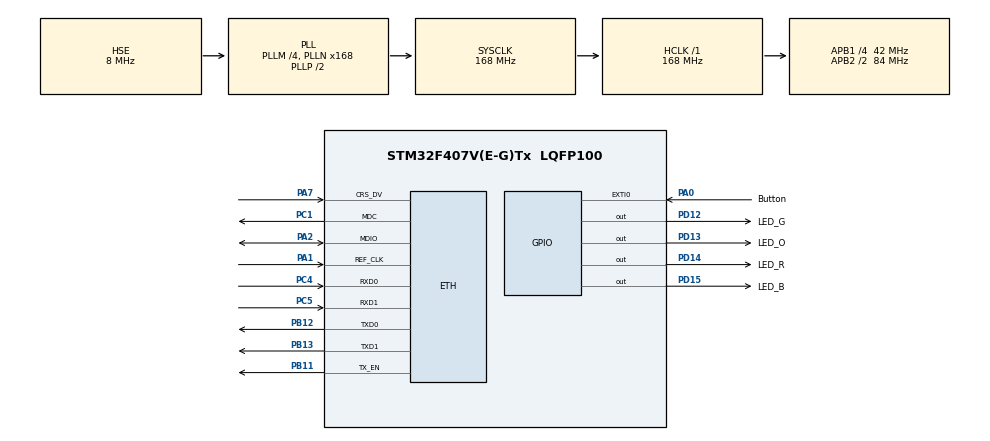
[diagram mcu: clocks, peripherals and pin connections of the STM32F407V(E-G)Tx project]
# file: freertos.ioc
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ETH.MediaInterface=ETH_MEDIA_INTERFACE_RMII
FREERTOS.BinarySemaphores01=myBinarySem01,Dynamic,NULL
FREERTOS.HEAP_NUMBER=4
FREERTOS.INCLUDE_eTaskGetState=1
FREERTOS.INCLUDE_pcTaskGetTaskName=1
FREERTOS.INCLUDE_uxTaskGetStackHighWaterMark=1
FREERTOS.INCLUDE_vTaskCleanUpResources=1
FREERTOS.INCLUDE_vTaskDelayUntil=1
FREERTOS.INCLUDE_xEventGroupSetBitFromISR=1
FREERTOS.INCLUDE_xQueueGetMutexHolder=1
FREERTOS.INCLUDE_xSemaphoreGetMutexHolder=1
FREERTOS.INCLUDE_xTaskAbortDelay=1
FREERTOS.INCLUDE_xTaskGetCurrentTaskHandle=1
FREERTOS.INCLUDE_xTaskGetHandle=1
FREERTOS.INCLUDE_xTimerPendFunctionCall=1
FREERTOS.Queues01=myQueue01,16,uint16_t,0,Dynamic,NULL,NULL
FREERTOS.Tasks01=defaultTask,0,128,StartDefaultTask,Default,NULL,Dynamic,NULL,NULL;myTask02,-3,128,StartTask02,Default,NULL,Dynamic,NULL,NULL;myTask03,-3,128,StartTask03,Default,NULL,Dynamic,NULL,NULL;myTask04,-3,128,StartTask04,Default,NULL,Dynamic,NULL,NULL;myTask05,-3,128,StartTask05,Default,NULL,Dynamic,NULL,NULL;ButtonProc,0,128,StartButtonProc,Default,NULL,Dynamic,NULL,NULL;ButtonParse,0,128,StartButtonParse,Default,NULL,Dynamic,NULL,NULL
FREERTOS.configGENERATE_RUN_TIME_STATS=1
FREERTOS.configTICK_RATE_HZ=1000
FREERTOS.configTOTAL_HEAP_SIZE=15360
FREERTOS.configUSE_STATS_FORMATTING_FUNCTIONS=1
FREERTOS.configUSE_TRACE_FACILITY=1
Mcu.Family=STM32F4
Mcu.Name=STM32F407V(E-G)Tx
Mcu.Package=LQFP100
NVIC.EXTI0_IRQn=true\:5\:0\:false\:false\:true\:true\:true\:true
NVIC.PriorityGroup=NVIC_PRIORITYGROUP_4
NVIC.RCC_IRQn=true\:5\:0\:false\:false\:true\:true\:true\:false
NVIC.TIM1_UP_TIM10_IRQn=true\:0\:0\:false\:false\:true\:false\:false\:true
NVIC.TimeBase=TIM1_UP_TIM10_IRQn
NVIC.TimeBaseIP=TIM1
PA0-WKUP.GPIO_Label=Button
PA0-WKUP.GPIO_ModeDefaultEXTI=GPIO_MODE_IT_RISING_FALLING
PA0-WKUP.GPIO_PuPd=GPIO_NOPULL
PA0-WKUP.Signal=GPXTI0
PA1.Mode=RMII
PA1.Signal=ETH_REF_CLK
PA13.Mode=Trace_Asynchronous_SW
PA13.Signal=SYS_JTMS-SWDIO
PA14.Mode=Trace_Asynchronous_SW
PA14.Signal=SYS_JTCK-SWCLK
PA2.Mode=RMII
PA2.Signal=ETH_MDIO
PA7.Mode=RMII
PA7.Signal=ETH_CRS_DV
PB11.Mode=RMII
PB11.Signal=ETH_TX_EN
PB12.Mode=RMII
PB12.Signal=ETH_TXD0
PB13.Mode=RMII
PB13.Signal=ETH_TXD1
PB3.Mode=Trace_Asynchronous_SW
PB3.Signal=SYS_JTDO-SWO
PC1.Mode=RMII
PC1.Signal=ETH_MDC
PC4.Mode=RMII
PC4.Signal=ETH_RXD0
PC5.Mode=RMII
PC5.Signal=ETH_RXD1
PD12.GPIO_Label=LED_G
PD12.Signal=GPIO_Output
PD13.GPIO_Label=LED_O
PD13.Signal=GPIO_Output
PD14.GPIO_Label=LED_R
PD14.Signal=GPIO_Output
PD15.GPIO_Label=LED_B
PD15.Signal=GPIO_Output
PH0-OSC_IN.Mode=HSE-External-Oscillator
PH0-OSC_IN.Signal=RCC_OSC_IN
PH1-OSC_OUT.Mode=HSE-External-Oscillator
PH1-OSC_OUT.Signal=RCC_OSC_OUT
ProjectManager.HeapSize=0x1000
ProjectManager.StackSize=0x2000
ProjectManager.TargetToolchain=MDK-ARM V5
RCC.48MHZClocksFreq_Value=84000000
RCC.AHBFreq_Value=168000000
RCC.APB1CLKDivider=RCC_HCLK_DIV4
RCC.APB1Freq_Value=42000000
RCC.APB1TimFreq_Value=84000000
RCC.APB2CLKDivider=RCC_HCLK_DIV2
RCC.APB2Freq_Value=84000000
RCC.APB2TimFreq_Value=168000000
RCC.CortexFreq_Value=168000000
RCC.HCLKFreq_Value=168000000
RCC.HSE_VALUE=8000000
RCC.HSI_VALUE=16000000
RCC.LSE_VALUE=32768
RCC.PLLM=4
RCC.PLLN=168
RCC.PLLSourceVirtual=RCC_PLLSOURCE_HSE
RCC.SYSCLKFreq_VALUE=168000000
RCC.SYSCLKSource=RCC_SYSCLKSOURCE_PLLCLK
RCC.VCOOutputFreq_Value=336000000
VP_FREERTOS_VS_CMSIS_V1.Mode=CMSIS_V1
VP_SYS_VS_tim1.Mode=TIM1
board=custom

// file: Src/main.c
/* USER CODE BEGIN Header */
/**
  ******************************************************************************
  * @file           : main.c
  * @brief          : Main program body
  ******************************************************************************
  * This notice applies to any and all portions of this file
  * that are not between comment pairs USER CODE BEGIN and
  * USER CODE END. Other portions of this file, whether
  * inserted by the user or by software development tools
  * are owned by their respective copyright owners.
  *
  * Copyright (c) 2019 STMicroelectronics International N.V.
  * All rights reserved.
  *
  * Redistribution and use in source and binary forms, with or without
  * modification, are permitted, provided that the following conditions are met:
  *
  * 1. Redistribution of source code must retain the above copyright notice,
  *    this list of conditions and the following disclaimer.
  * 2. Redistributions in binary form must reproduce the above copyright notice,
  *    this list of conditions and the following disclaimer in the documentation
  *    and/or other materials provided with the distribution.
  * 3. Neither the name of STMicroelectronics nor the names of other
  *    contributors to this software may be used to endorse or promote products
  *    derived from this software without specific written permission.
  * 4. This software, including modifications and/or derivative works of this
  *    software, must execute solely and exclusively on microcontroller or
  *    microprocessor devices manufactured by or for STMicroelectronics.
  * 5. Redistribution and use of this software other than as permitted under
  *    this license is void and will automatically terminate your rights under
  *    this license.
  *
  * THIS SOFTWARE IS PROVIDED BY STMICROELECTRONICS AND CONTRIBUTORS "AS IS"
  * AND ANY EXPRESS, IMPLIED OR STATUTORY WARRANTIES, INCLUDING, BUT NOT
  * LIMITED TO, THE IMPLIED WARRANTIES OF MERCHANTABILITY, FITNESS FOR A
  * PARTICULAR PURPOSE AND NON-INFRINGEMENT OF THIRD PARTY INTELLECTUAL PROPERTY
  * RIGHTS ARE DISCLAIMED TO THE FULLEST EXTENT PERMITTED BY LAW. IN NO EVENT
  * SHALL STMICROELECTRONICS OR CONTRIBUTORS BE LIABLE FOR ANY DIRECT, INDIRECT,
  * INCIDENTAL, SPECIAL, EXEMPLARY, OR CONSEQUENTIAL DAMAGES (INCLUDING, BUT NOT
  * LIMITED TO, PROCUREMENT OF SUBSTITUTE GOODS OR SERVICES; LOSS OF USE, DATA,
  * OR PROFITS; OR BUSINESS INTERRUPTION) HOWEVER CAUSED AND ON ANY THEORY OF
  * LIABILITY, WHETHER IN CONTRACT, STRICT LIABILITY, OR TORT (INCLUDING
  * NEGLIGENCE OR OTHERWISE) ARISING IN ANY WAY OUT OF THE USE OF THIS SOFTWARE,
  * EVEN IF ADVISED OF THE POSSIBILITY OF SUCH DAMAGE.
  *
  ******************************************************************************
  */
/* USER CODE END Header */

#include "main.h"
#include "cmsis_os.h"

/* USER CODE BEGIN Includes */
#include "printf.h"
#include <stdlib.h>
/* USER CODE END Includes */

/* USER CODE BEGIN PTD */
typedef struct {
	uint16_t var1;
	char text1[50];
}  test_struct;

/* USER CODE END PTD */

osThreadId defaultTaskHandle;
osThreadId myTask02Handle;
osThreadId myTask03Handle;
osThreadId myTask04Handle;
osThreadId myTask05Handle;
osThreadId ButtonProcHandle;
osThreadId ButtonParseHandle;
osMessageQId myQueue01Handle;
osSemaphoreId myBinarySem01Handle;

void SystemClock_Config(void);
static void MX_GPIO_Init(void);
void StartDefaultTask(void const * argument);
void StartTask02(void const * argument);
void StartTask03(void const * argument);
void StartTask04(void const * argument);
void StartTask05(void const * argument);
void StartButtonProc(void const * argument);
void StartButtonParse(void const * argument);

int main(void)
{

  /* MCU Configuration--------------------------------------------------------*/

  /* Reset of all peripherals, Initializes the Flash interface and the Systick. */
  HAL_Init();

  /* Configure the system clock */
  SystemClock_Config();

  /* Initialize all configured peripherals */
  MX_GPIO_Init();

  /* Create the semaphores(s) */
  /* definition and creation of myBinarySem01 */
  osSemaphoreDef(myBinarySem01);
  myBinarySem01Handle = osSemaphoreCreate(osSemaphore(myBinarySem01), 1);

  /* Create the queue(s) */
  /* definition and creation of myQueue01 */
  osMessageQDef(myQueue01, 16, uint16_t);
  myQueue01Handle = osMessageCreate(osMessageQ(myQueue01), NULL);

  /* Create the thread(s) */
  /* definition and creation of defaultTask */
  osThreadDef(defaultTask, StartDefaultTask, osPriorityNormal, 0, 128);
  defaultTaskHandle = osThreadCreate(osThread(defaultTask), NULL);

  /* definition and creation of myTask02 */
  osThreadDef(myTask02, StartTask02, osPriorityIdle, 0, 128);
  myTask02Handle = osThreadCreate(osThread(myTask02), NULL);

  /* definition and creation of myTask03 */
  osThreadDef(myTask03, StartTask03, osPriorityIdle, 0, 128);
  myTask03Handle = osThreadCreate(osThread(myTask03), NULL);

  /* definition and creation of myTask04 */
  osThreadDef(myTask04, StartTask04, osPriorityIdle, 0, 128);
  myTask04Handle = osThreadCreate(osThread(myTask04), NULL);

  /* definition and creation of myTask05 */
  osThreadDef(myTask05, StartTask05, osPriorityIdle, 0, 128);
  myTask05Handle = osThreadCreate(osThread(myTask05), NULL);

  /* definition and creation of ButtonProc */
  osThreadDef(ButtonProc, StartButtonProc, osPriorityNormal, 0, 128);
  ButtonProcHandle = osThreadCreate(osThread(ButtonProc), NULL);

  /* definition and creation of ButtonParse */
  osThreadDef(ButtonParse, StartButtonParse, osPriorityNormal, 0, 128);
  ButtonParseHandle = osThreadCreate(osThread(ButtonParse), NULL);

  /* Start scheduler */
  osKernelStart();

  /* We should never get here as control is now taken by the scheduler */

  /* Infinite loop */
  while (1)
  {

  }
}

void SystemClock_Config(void)
{
  RCC_OscInitTypeDef RCC_OscInitStruct = {0};
  RCC_ClkInitTypeDef RCC_ClkInitStruct = {0};

  /** Configure the main internal regulator output voltage
  */
  __HAL_RCC_PWR_CLK_ENABLE();
  __HAL_PWR_VOLTAGESCALING_CONFIG(PWR_REGULATOR_VOLTAGE_SCALE1);
  /** Initializes the CPU, AHB and APB busses clocks
  */
  RCC_OscInitStruct.OscillatorType = RCC_OSCILLATORTYPE_HSE;
  RCC_OscInitStruct.HSEState = RCC_HSE_ON;
  RCC_OscInitStruct.PLL.PLLState = RCC_PLL_ON;
  RCC_OscInitStruct.PLL.PLLSource = RCC_PLLSOURCE_HSE;
  RCC_OscInitStruct.PLL.PLLM = 4;
  RCC_OscInitStruct.PLL.PLLN = 168;
  RCC_OscInitStruct.PLL.PLLP = RCC_PLLP_DIV2;
  RCC_OscInitStruct.PLL.PLLQ = 4;
  if (HAL_RCC_OscConfig(&RCC_OscInitStruct) != HAL_OK)
  {
    Error_Handler();
  }
  /** Initializes the CPU, AHB and APB busses clocks
  */
  RCC_ClkInitStruct.ClockType = RCC_CLOCKTYPE_HCLK|RCC_CLOCKTYPE_SYSCLK
                              |RCC_CLOCKTYPE_PCLK1|RCC_CLOCKTYPE_PCLK2;
  RCC_ClkInitStruct.SYSCLKSource = RCC_SYSCLKSOURCE_PLLCLK;
  RCC_ClkInitStruct.AHBCLKDivider = RCC_SYSCLK_DIV1;
  RCC_ClkInitStruct.APB1CLKDivider = RCC_HCLK_DIV4;
  RCC_ClkInitStruct.APB2CLKDivider = RCC_HCLK_DIV2;

  if (HAL_RCC_ClockConfig(&RCC_ClkInitStruct, FLASH_LATENCY_5) != HAL_OK)
  {
    Error_Handler();
  }
}

static void MX_GPIO_Init(void)
{
  GPIO_InitTypeDef GPIO_InitStruct = {0};

  /* GPIO Ports Clock Enable */
  __HAL_RCC_GPIOH_CLK_ENABLE();
  __HAL_RCC_GPIOA_CLK_ENABLE();
  __HAL_RCC_GPIOD_CLK_ENABLE();
  __HAL_RCC_GPIOB_CLK_ENABLE();

  /*Configure GPIO pin Output Level */
  HAL_GPIO_WritePin(GPIOD, LED_G_Pin|LED_O_Pin|LED_R_Pin|LED_B_Pin, GPIO_PIN_RESET);

  /*Configure GPIO pin : Button_Pin */
  GPIO_InitStruct.Pin = Button_Pin;
  GPIO_InitStruct.Mode = GPIO_MODE_IT_RISING_FALLING;
  GPIO_InitStruct.Pull = GPIO_NOPULL;
  HAL_GPIO_Init(Button_GPIO_Port, &GPIO_InitStruct);

  /*Configure GPIO pins : LED_G_Pin LED_O_Pin LED_R_Pin LED_B_Pin */
  GPIO_InitStruct.Pin = LED_G_Pin|LED_O_Pin|LED_R_Pin|LED_B_Pin;
  GPIO_InitStruct.Mode = GPIO_MODE_OUTPUT_PP;
  GPIO_InitStruct.Pull = GPIO_NOPULL;
  GPIO_InitStruct.Speed = GPIO_SPEED_FREQ_LOW;
  HAL_GPIO_Init(GPIOD, &GPIO_InitStruct);

  /* EXTI interrupt init*/
  HAL_NVIC_SetPriority(EXTI0_IRQn, 5, 0);
  HAL_NVIC_EnableIRQ(EXTI0_IRQn);

}

void StartDefaultTask(void const * argument)
{

  /* USER CODE BEGIN 5 */

  /* Infinite loop */
  for(;;)
  {
		osDelay(1000);
  }
  /* USER CODE END 5 */
}

void StartTask02(void const * argument)
{
  /* USER CODE BEGIN StartTask02 */
  /* Infinite loop */
  for(;;)
  {
		//printf("Task 2 entered\r\n");
		HAL_GPIO_TogglePin(LED_G_GPIO_Port, LED_G_Pin);
    osDelay(100);
  }
  /* USER CODE END StartTask02 */
}

void StartTask03(void const * argument)
{
  /* USER CODE BEGIN StartTask03 */
  /* Infinite loop */
  for(;;)
  {
		//printf("Task 3 entered\r\n");
    HAL_GPIO_TogglePin(LED_R_GPIO_Port, LED_R_Pin);
    osDelay(150);
  }
  /* USER CODE END StartTask03 */
}

void StartTask04(void const * argument)
{
  /* USER CODE BEGIN StartTask04 */
  /* Infinite loop */
  for(;;)
  {
		//printf("Task 4 entered\r\n");
		if (myBinarySem01Handle != NULL) {
		//	if(osSemaphoreWait(myBinarySem01Handle , 1000) == osOK) {

				HAL_GPIO_TogglePin(LED_B_GPIO_Port, LED_B_Pin);

		//		osSemaphoreRelease(myBinarySem01Handle);
		//	}

		}
    osDelay(250);
 }
  /* USER CODE END StartTask04 */
}

void StartTask05(void const * argument)
{
  /* USER CODE BEGIN StartTask05 */
  /* Infinite loop */
  for(;;)
  {
		HAL_GPIO_TogglePin(LED_O_GPIO_Port, LED_O_Pin);
    osDelay(350);
  }
	//
  /* USER CODE END StartTask05 */
}

void StartButtonProc(void const * argument)
{
  /* USER CODE BEGIN StartButtonProc */
  /* Infinite loop */
  for(;;)
  {
    if (HAL_GPIO_ReadPin(Button_GPIO_Port, Button_Pin)) {
			//osSemaphoreWait(myBinarySem01Handle , 100);

		} else if (!HAL_GPIO_ReadPin(Button_GPIO_Port, Button_Pin)) {
			//osSemaphoreRelease(myBinarySem01Handle);
		}
		osDelay(100);
  }
  /* USER CODE END StartButtonProc */
}

void StartButtonParse(void const * argument)
{
  /* USER CODE BEGIN StartButtonParse */
  /* Infinite loop */
  for(;;)
  {
		osEvent event; //создаем структуру данных которые нужно принять
		//event = osMessageGet(myQueue01Handle, 100); //забираем данные из структуры

		printf("\nButton states: ");
		if (event.status == osEventMessage) { //проверяем, не пустая ли структура
			 do {
				 printf("%i", event.value.v); //данные хранятся в event.value.v
				 if (event.value.v == 0) printf (" ");
			//		event = osMessageGet(myQueue01Handle, 100); // проверяем, есть ли что еще в очереди
			 } while (event.status == osEventMessage); // проверяем, есть ли что еще в очереди
		}

    osDelay(5000);
  }
  /* USER CODE END StartButtonParse */
}

void HAL_TIM_PeriodElapsedCallback(TIM_HandleTypeDef *htim)
{
  if (htim->Instance == TIM1) {
    HAL_IncTick();
  }
}

void Error_Handler(void)
{
}

/************************ (C) COPYRIGHT STMicroelectronics *****END OF FILE****/

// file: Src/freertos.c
/* USER CODE BEGIN Header */
/**
  ******************************************************************************
  * File Name          : freertos.c
  * Description        : Code for freertos applications
  ******************************************************************************
  * This notice applies to any and all portions of this file
  * that are not between comment pairs USER CODE BEGIN and
  * USER CODE END. Other portions of this file, whether
  * inserted by the user or by software development tools
  * are owned by their respective copyright owners.
  *
  * Copyright (c) 2019 STMicroelectronics International N.V.
  * All rights reserved.
  *
  * Redistribution and use in source and binary forms, with or without
  * modification, are permitted, provided that the following conditions are met:
  *
  * 1. Redistribution of source code must retain the above copyright notice,
  *    this list of conditions and the following disclaimer.
  * 2. Redistributions in binary form must reproduce the above copyright notice,
  *    this list of conditions and the following disclaimer in the documentation
  *    and/or other materials provided with the distribution.
  * 3. Neither the name of STMicroelectronics nor the names of other
  *    contributors to this software may be used to endorse or promote products
  *    derived from this software without specific written permission.
  * 4. This software, including modifications and/or derivative works of this
  *    software, must execute solely and exclusively on microcontroller or
  *    microprocessor devices manufactured by or for STMicroelectronics.
  * 5. Redistribution and use of this software other than as permitted under
  *    this license is void and will automatically terminate your rights under
  *    this license.
  *
  * THIS SOFTWARE IS PROVIDED BY STMICROELECTRONICS AND CONTRIBUTORS "AS IS"
  * AND ANY EXPRESS, IMPLIED OR STATUTORY WARRANTIES, INCLUDING, BUT NOT
  * LIMITED TO, THE IMPLIED WARRANTIES OF MERCHANTABILITY, FITNESS FOR A
  * PARTICULAR PURPOSE AND NON-INFRINGEMENT OF THIRD PARTY INTELLECTUAL PROPERTY
  * RIGHTS ARE DISCLAIMED TO THE FULLEST EXTENT PERMITTED BY LAW. IN NO EVENT
  * SHALL STMICROELECTRONICS OR CONTRIBUTORS BE LIABLE FOR ANY DIRECT, INDIRECT,
  * INCIDENTAL, SPECIAL, EXEMPLARY, OR CONSEQUENTIAL DAMAGES (INCLUDING, BUT NOT
  * LIMITED TO, PROCUREMENT OF SUBSTITUTE GOODS OR SERVICES; LOSS OF USE, DATA,
  * OR PROFITS; OR BUSINESS INTERRUPTION) HOWEVER CAUSED AND ON ANY THEORY OF
  * LIABILITY, WHETHER IN CONTRACT, STRICT LIABILITY, OR TORT (INCLUDING
  * NEGLIGENCE OR OTHERWISE) ARISING IN ANY WAY OUT OF THE USE OF THIS SOFTWARE,
  * EVEN IF ADVISED OF THE POSSIBILITY OF SUCH DAMAGE.
  *
  ******************************************************************************
  */
/* USER CODE END Header */

#include "FreeRTOS.h"
#include "task.h"
#include "main.h"

/* GetIdleTaskMemory prototype (linked to static allocation support) */
void vApplicationGetIdleTaskMemory( StaticTask_t **ppxIdleTaskTCBBuffer, StackType_t **ppxIdleTaskStackBuffer, uint32_t *pulIdleTaskStackSize );

/* GetTimerTaskMemory prototype (linked to static allocation support) */
void vApplicationGetTimerTaskMemory( StaticTask_t **ppxTimerTaskTCBBuffer, StackType_t **ppxTimerTaskStackBuffer, uint32_t *pulTimerTaskStackSize );

/* Hook prototypes */
void configureTimerForRunTimeStats(void);
unsigned long getRunTimeCounterValue(void);

/* USER CODE BEGIN 1 */
/* Functions needed when configGENERATE_RUN_TIME_STATS is on */
__weak void configureTimerForRunTimeStats(void)
{

}

__weak unsigned long getRunTimeCounterValue(void)
{
return 0;
}
/* USER CODE END 1 */

/* USER CODE BEGIN GET_IDLE_TASK_MEMORY */
static StaticTask_t xIdleTaskTCBBuffer;
static StackType_t xIdleStack[configMINIMAL_STACK_SIZE];

void vApplicationGetIdleTaskMemory( StaticTask_t **ppxIdleTaskTCBBuffer, StackType_t **ppxIdleTaskStackBuffer, uint32_t *pulIdleTaskStackSize )
{
  *ppxIdleTaskTCBBuffer = &xIdleTaskTCBBuffer;
  *ppxIdleTaskStackBuffer = &xIdleStack[0];
  *pulIdleTaskStackSize = configMINIMAL_STACK_SIZE;
  /* place for user code */
}
/* USER CODE END GET_IDLE_TASK_MEMORY */

/* USER CODE BEGIN GET_TIMER_TASK_MEMORY */
static StaticTask_t xTimerTaskTCBBuffer;
static StackType_t xTimerStack[configTIMER_TASK_STACK_DEPTH];

void vApplicationGetTimerTaskMemory( StaticTask_t **ppxTimerTaskTCBBuffer, StackType_t **ppxTimerTaskStackBuffer, uint32_t *pulTimerTaskStackSize )
{
  *ppxTimerTaskTCBBuffer = &xTimerTaskTCBBuffer;
  *ppxTimerTaskStackBuffer = &xTimerStack[0];
  *pulTimerTaskStackSize = configTIMER_TASK_STACK_DEPTH;
  /* place for user code */
}
/* USER CODE END GET_TIMER_TASK_MEMORY */

/************************ (C) COPYRIGHT STMicroelectronics *****END OF FILE****/
